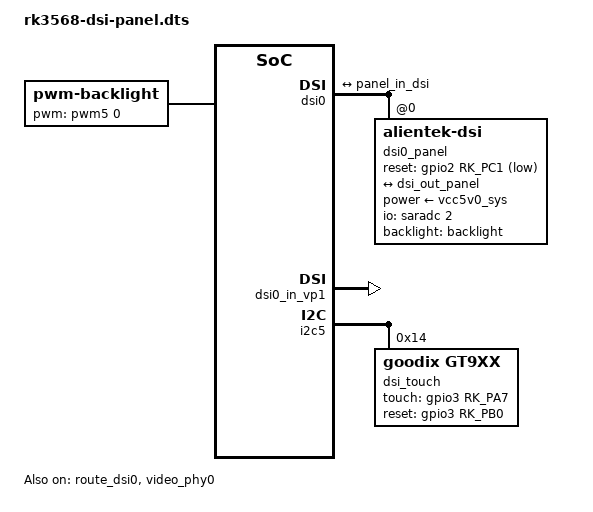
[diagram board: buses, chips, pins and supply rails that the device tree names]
/dts-v1/;
/plugin/;

#include <dt-bindings/gpio/gpio.h>
#include <dt-bindings/pinctrl/rockchip.h>
#include <dt-bindings/display/media-bus-format.h>
#include <dt-bindings/pwm/pwm.h>
#include <dt-bindings/display/drm_mipi_dsi.h>
#include <dt-bindings/display/rockchip_vop.h>
#include <dt-bindings/clock/rk3568-cru.h>
#include <dt-bindings/interrupt-controller/arm-gic.h>
#include <dt-bindings/interrupt-controller/irq.h>

&{/} {

    backlight: backlight {
		compatible = "pwm-backlight";
		status = "okay";
		pwms = <&pwm5 0 25000 0>;
		brightness-levels = <
			  0  20  20  21  21  22  22  23
			 23  24  24  25  25  26  26  27
			 27  28  28  29  29  30  30  31
			 31  32  32  33  33  34  34  35
			 35  36  36  37  37  38  38  39
			 40  41  42  43  44  45  46  47
			 48  49  50  51  52  53  54  55
			 56  57  58  59  60  61  62  63
			 64  65  66  67  68  69  70  71
			 72  73  74  75  76  77  78  79
			 80  81  82  83  84  85  86  87
			 88  89  90  91  92  93  94  95
			 96  97  98  99 100 101 102 103
			104 105 106 107 108 109 110 111
			112 113 114 115 116 117 118 119
			120 121 122 123 124 125 126 127
			128 129 130 131 132 133 134 135
			136 137 138 139 140 141 142 143
			144 145 146 147 148 149 150 151
			152 153 154 155 156 157 158 159
			160 161 162 163 164 165 166 167
			168 169 170 171 172 173 174 175
			176 177 178 179 180 181 182 183
			184 185 186 187 188 189 190 191
			192 193 194 195 196 197 198 199
			200 201 202 203 204 205 206 207
			208 209 210 211 212 213 214 215
			216 217 218 219 220 221 222 223
			224 225 226 227 228 229 230 231
			232 233 234 235 236 237 238 239
			240 241 242 243 244 245 246 247
			248 249 250 251 252 253 254 255
		>;
		default-brightness-level = <200>;
	};
};

&dsi0 {
    #address-cells = <1>;
	#size-cells = <0>;
	status = "okay";

	dsi0_panel: panel@0 { //默认是720P屏幕
		status = "okay";
		compatible = "alientek-dsi";
		reg = <0>;
		backlight = <&backlight>;
		power-supply = <&vcc5v0_sys>;
		io-channels = <&saradc 2>;
		reset-gpios = <&gpio2 RK_PC1 GPIO_ACTIVE_LOW>;
		pinctrl-names = "default";
		pinctrl-0 = <&mipi_dsi_rst>;

		ports {
			#address-cells = <1>;
			#size-cells = <0>;

			port@0 {
				reg = <0>;
				panel_in_dsi: endpoint {
					remote-endpoint = <&dsi_out_panel>;
				};
			};
		};
	};

	ports {
		#address-cells = <1>;
		#size-cells = <0>;

		port@1 {
			reg = <1>;
			dsi_out_panel: endpoint {
				remote-endpoint = <&panel_in_dsi>;
			};
		};
	};
};

&dsi0_in_vp1 {
	status = "okay";
};

&route_dsi0 {
	connect = <&vp1_out_dsi0>;
	status = "okay";
};

&video_phy0 {
	status = "okay";
};

&i2c5 {
    #address-cells = <1>;
	#size-cells = <0>;
	status = "okay";

	dsi_touch: gt911@14 {
		compatible = "goodix,gt9xx";
		reg = <0x14>;
		pinctrl-names = "default";
		pinctrl-0 = <&touch_gpio>;
		touch-gpio = <&gpio3 RK_PA7 IRQ_TYPE_LEVEL_LOW>;
		reset-gpio = <&gpio3 RK_PB0 GPIO_ACTIVE_HIGH>;
		max-x = <1080>;
		max-y = <1920>;
		tp-size = <911>;
		wakeup-source;
		status = "okay";
	};
};

&pinctrl {

	dsi {
		mipi_dsi_rst: mipi-dsi-rst {
			rockchip,pins =
				<2 RK_PC1 RK_FUNC_GPIO &pcfg_pull_none>;
		};
	};

	touch {
		touch_gpio: touch-gpio {
			rockchip,pins =
				<3 RK_PA7 RK_FUNC_GPIO &pcfg_pull_up>,
				<3 RK_PB0 RK_FUNC_GPIO &pcfg_pull_none>;
		};
	};
};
